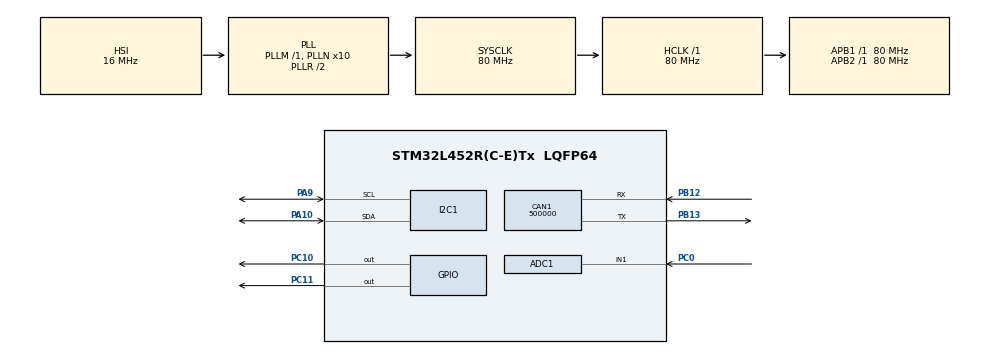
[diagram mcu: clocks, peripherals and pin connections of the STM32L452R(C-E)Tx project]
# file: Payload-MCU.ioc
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ADC1.Channel-0\#ChannelRegularConversion=ADC_CHANNEL_1
ADC1.NbrOfConversionFlag=1
ADC1.OffsetNumber-0\#ChannelRegularConversion=ADC_OFFSET_NONE
ADC1.Rank-0\#ChannelRegularConversion=1
ADC1.SamplingTime-0\#ChannelRegularConversion=ADC_SAMPLETIME_2CYCLES_5
ADC1.master=1
CAN1.BS1=CAN_BS1_5TQ
CAN1.BS2=CAN_BS2_4TQ
CAN1.CalculateBaudRate=500000
CAN1.CalculateTimeBit=2000
CAN1.CalculateTimeQuantum=200.0
FREERTOS.Tasks01=defaultTask,24,128,StartDefaultTask,Default,NULL,Dynamic,NULL,NULL
I2C1.Timing=0x10909CEC
Mcu.Family=STM32L4
Mcu.Name=STM32L452R(C-E)Tx
Mcu.Package=LQFP64
NVIC.CAN1_RX0_IRQn=true\:5\:0\:false\:false\:true\:true\:true\:true\:true
NVIC.PriorityGroup=NVIC_PRIORITYGROUP_4
NVIC.TIM2_IRQn=true\:5\:0\:false\:false\:true\:true\:true\:true\:true
PA10.Mode=I2C
PA10.Signal=I2C1_SDA
PA13\ (JTMS/SWDIO).Mode=Trace_Asynchronous_SW
PA13\ (JTMS/SWDIO).Signal=SYS_JTMS-SWDIO
PA14\ (JTCK/SWCLK).Mode=Trace_Asynchronous_SW
PA14\ (JTCK/SWCLK).Signal=SYS_JTCK-SWCLK
PA9.Mode=I2C
PA9.Signal=I2C1_SCL
PB12.Mode=CAN_Activate
PB12.Signal=CAN1_RX
PB13.Mode=CAN_Activate
PB13.Signal=CAN1_TX
PB3\ (JTDO/TRACESWO).Mode=Trace_Asynchronous_SW
PB3\ (JTDO/TRACESWO).Signal=SYS_JTDO-SWO
PC0.Signal=ADCx_IN1
PC10.Signal=GPIO_Output
PC11.Signal=GPIO_Output
PH3-BOOT0\ (BOOT0).Signal=EVENTOUT
ProjectManager.HeapSize=0x200
ProjectManager.StackSize=0x400
ProjectManager.TargetToolchain=STM32CubeIDE
RCC.ADCFreq_Value=64000000
RCC.AHBFreq_Value=80000000
RCC.APB1Freq_Value=80000000
RCC.APB1TimFreq_Value=80000000
RCC.APB2Freq_Value=80000000
RCC.APB2TimFreq_Value=80000000
RCC.CortexFreq_Value=80000000
RCC.HCLKFreq_Value=80000000
RCC.HSE_VALUE=8000000
RCC.HSI48_VALUE=48000000
RCC.HSI_VALUE=16000000
RCC.LSE_VALUE=32768
RCC.MSI_VALUE=4000000
RCC.PLLN=10
RCC.PLLSourceVirtual=RCC_PLLSOURCE_HSI
RCC.SYSCLKFreq_VALUE=80000000
RCC.SYSCLKSource=RCC_SYSCLKSOURCE_PLLCLK
RCC.USBFreq_Value=64000000
RCC.VCOOutputFreq_Value=160000000
SH.ADCx_IN1.0=ADC1_IN1,IN1-Single-Ended
TIM16.Period=5000 - 1
TIM16.Prescaler=80 - 1
VP_FREERTOS_VS_CMSIS_V2.Mode=CMSIS_V2
VP_TIM16_VS_ClockSourceINT.Mode=Enable_Timer
VP_TIM2_VS_ClockSourceINT.Mode=Internal
board=custom

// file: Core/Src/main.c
/* USER CODE BEGIN Header */
/**
  ******************************************************************************
  * @file           : main.c
  * @brief          : Main program body
  ******************************************************************************
  * @attention
  *
  * Copyright (c) 2023 STMicroelectronics.
  * All rights reserved.
  *
  * This software is licensed under terms that can be found in the LICENSE file
  * in the root directory of this software component.
  * If no LICENSE file comes with this software, it is provided AS-IS.
  *
  ******************************************************************************
  */
/* USER CODE END Header */
#include "main.h"
#include "cmsis_os.h"

/* USER CODE BEGIN Includes */
#include <stdio.h>
#include <stdlib.h>

#include <tuk/tuk.h>

#include "core.h"
#include "command_handling.h"
/* USER CODE END Includes */

ADC_HandleTypeDef hadc1;

CAN_HandleTypeDef hcan1;

I2C_HandleTypeDef hi2c1;

TIM_HandleTypeDef htim2;
TIM_HandleTypeDef htim16;

/* Definitions for defaultTask */
osThreadId_t defaultTaskHandle;
const osThreadAttr_t defaultTask_attributes = {
  .name = "defaultTask",
  .stack_size = 128 * 4,
  .priority = (osPriority_t) osPriorityNormal,
};

void SystemClock_Config(void);
static void MX_GPIO_Init(void);
static void MX_I2C1_Init(void);
static void MX_CAN1_Init(void);
static void MX_ADC1_Init(void);
static void MX_TIM2_Init(void);
static void MX_TIM16_Init(void);
void StartDefaultTask(void *argument);

/* USER CODE BEGIN 0 */
#define PRINT_SUBJECT "Core"

/* Function used by printf() to direct output to SWO, prototype in syscalls.c */
__attribute__((weak)) int _write(int file, char *ptr, int len)
{
  (void)file;
  int DataIdx;

  for (DataIdx = 0; DataIdx < len; DataIdx++)
  {
    ITM_SendChar(*ptr++);
  }
  return len;
}

/* USER CODE END 0 */

int main(void)
{

  /* MCU Configuration--------------------------------------------------------*/

  /* Reset of all peripherals, Initializes the Flash interface and the Systick. */
  HAL_Init();

  /* Configure the system clock */
  SystemClock_Config();

  /* Initialize all configured peripherals */
  MX_GPIO_Init();
  MX_I2C1_Init();
  MX_CAN1_Init();
  MX_ADC1_Init();
  MX_TIM2_Init();
  MX_TIM16_Init();
  /* USER CODE BEGIN 2 */
  Core_Init();
  /* USER CODE END 2 */

  /* Init scheduler */
  osKernelInitialize();

  /* Create the thread(s) */
  /* creation of defaultTask */
  defaultTaskHandle = osThreadNew(StartDefaultTask, NULL, &defaultTask_attributes);

  /* USER CODE BEGIN RTOS_THREADS */
  /* add threads, ... */
  const CANWrapper_InitTypeDef cw_init = {
  		.node_id = NODE_PAYLOAD,    // your subsystem's unique ID in the CAN network.
  		.message_callback = On_CAN_Message_Ready, // called when a message is received and ready to be handled.
  		.error_callback = On_CAN_Error      // called when a communication error occurs.
  };
  CANWrapper_CAN_Start(&hcan1);
  CANWrapper_Init(&cw_init);
  /* USER CODE END RTOS_THREADS */

  /* Start scheduler */
  osKernelStart();

  /* We should never get here as control is now taken by the scheduler */
  /* Infinite loop */
  while (1)
  {

  }
}

void SystemClock_Config(void)
{
  RCC_OscInitTypeDef RCC_OscInitStruct = {0};
  RCC_ClkInitTypeDef RCC_ClkInitStruct = {0};

  /** Configure the main internal regulator output voltage
  */
  if (HAL_PWREx_ControlVoltageScaling(PWR_REGULATOR_VOLTAGE_SCALE1) != HAL_OK)
  {
    Error_Handler();
  }

  /** Initializes the RCC Oscillators according to the specified parameters
  * in the RCC_OscInitTypeDef structure.
  */
  RCC_OscInitStruct.OscillatorType = RCC_OSCILLATORTYPE_HSI;
  RCC_OscInitStruct.HSIState = RCC_HSI_ON;
  RCC_OscInitStruct.HSICalibrationValue = RCC_HSICALIBRATION_DEFAULT;
  RCC_OscInitStruct.PLL.PLLState = RCC_PLL_ON;
  RCC_OscInitStruct.PLL.PLLSource = RCC_PLLSOURCE_HSI;
  RCC_OscInitStruct.PLL.PLLM = 1;
  RCC_OscInitStruct.PLL.PLLN = 10;
  RCC_OscInitStruct.PLL.PLLP = RCC_PLLP_DIV7;
  RCC_OscInitStruct.PLL.PLLQ = RCC_PLLQ_DIV2;
  RCC_OscInitStruct.PLL.PLLR = RCC_PLLR_DIV2;
  if (HAL_RCC_OscConfig(&RCC_OscInitStruct) != HAL_OK)
  {
    Error_Handler();
  }

  /** Initializes the CPU, AHB and APB buses clocks
  */
  RCC_ClkInitStruct.ClockType = RCC_CLOCKTYPE_HCLK|RCC_CLOCKTYPE_SYSCLK
                              |RCC_CLOCKTYPE_PCLK1|RCC_CLOCKTYPE_PCLK2;
  RCC_ClkInitStruct.SYSCLKSource = RCC_SYSCLKSOURCE_PLLCLK;
  RCC_ClkInitStruct.AHBCLKDivider = RCC_SYSCLK_DIV1;
  RCC_ClkInitStruct.APB1CLKDivider = RCC_HCLK_DIV1;
  RCC_ClkInitStruct.APB2CLKDivider = RCC_HCLK_DIV1;

  if (HAL_RCC_ClockConfig(&RCC_ClkInitStruct, FLASH_LATENCY_4) != HAL_OK)
  {
    Error_Handler();
  }
}

static void MX_ADC1_Init(void)
{

  ADC_ChannelConfTypeDef sConfig = {0};

  /** Common config
  */
  hadc1.Instance = ADC1;
  hadc1.Init.ClockPrescaler = ADC_CLOCK_ASYNC_DIV1;
  hadc1.Init.Resolution = ADC_RESOLUTION_12B;
  hadc1.Init.DataAlign = ADC_DATAALIGN_RIGHT;
  hadc1.Init.ScanConvMode = ADC_SCAN_DISABLE;
  hadc1.Init.EOCSelection = ADC_EOC_SINGLE_CONV;
  hadc1.Init.LowPowerAutoWait = DISABLE;
  hadc1.Init.ContinuousConvMode = DISABLE;
  hadc1.Init.NbrOfConversion = 1;
  hadc1.Init.DiscontinuousConvMode = DISABLE;
  hadc1.Init.ExternalTrigConv = ADC_SOFTWARE_START;
  hadc1.Init.ExternalTrigConvEdge = ADC_EXTERNALTRIGCONVEDGE_NONE;
  hadc1.Init.DMAContinuousRequests = DISABLE;
  hadc1.Init.Overrun = ADC_OVR_DATA_PRESERVED;
  hadc1.Init.OversamplingMode = DISABLE;
  if (HAL_ADC_Init(&hadc1) != HAL_OK)
  {
    Error_Handler();
  }

  /** Configure Regular Channel
  */
  sConfig.Channel = ADC_CHANNEL_1;
  sConfig.Rank = ADC_REGULAR_RANK_1;
  sConfig.SamplingTime = ADC_SAMPLETIME_2CYCLES_5;
  sConfig.SingleDiff = ADC_SINGLE_ENDED;
  sConfig.OffsetNumber = ADC_OFFSET_NONE;
  sConfig.Offset = 0;
  if (HAL_ADC_ConfigChannel(&hadc1, &sConfig) != HAL_OK)
  {
    Error_Handler();
  }

}

static void MX_CAN1_Init(void)
{

  hcan1.Instance = CAN1;
  hcan1.Init.Prescaler = 16;
  hcan1.Init.Mode = CAN_MODE_NORMAL;
  hcan1.Init.SyncJumpWidth = CAN_SJW_1TQ;
  hcan1.Init.TimeSeg1 = CAN_BS1_5TQ;
  hcan1.Init.TimeSeg2 = CAN_BS2_4TQ;
  hcan1.Init.TimeTriggeredMode = DISABLE;
  hcan1.Init.AutoBusOff = DISABLE;
  hcan1.Init.AutoWakeUp = DISABLE;
  hcan1.Init.AutoRetransmission = DISABLE;
  hcan1.Init.ReceiveFifoLocked = DISABLE;
  hcan1.Init.TransmitFifoPriority = DISABLE;
  if (HAL_CAN_Init(&hcan1) != HAL_OK)
  {
    Error_Handler();
  }

}

static void MX_I2C1_Init(void)
{

  hi2c1.Instance = I2C1;
  hi2c1.Init.Timing = 0x10909CEC;
  hi2c1.Init.OwnAddress1 = 0;
  hi2c1.Init.AddressingMode = I2C_ADDRESSINGMODE_7BIT;
  hi2c1.Init.DualAddressMode = I2C_DUALADDRESS_DISABLE;
  hi2c1.Init.OwnAddress2 = 0;
  hi2c1.Init.OwnAddress2Masks = I2C_OA2_NOMASK;
  hi2c1.Init.GeneralCallMode = I2C_GENERALCALL_DISABLE;
  hi2c1.Init.NoStretchMode = I2C_NOSTRETCH_DISABLE;
  if (HAL_I2C_Init(&hi2c1) != HAL_OK)
  {
    Error_Handler();
  }

  /** Configure Analogue filter
  */
  if (HAL_I2CEx_ConfigAnalogFilter(&hi2c1, I2C_ANALOGFILTER_ENABLE) != HAL_OK)
  {
    Error_Handler();
  }

  /** Configure Digital filter
  */
  if (HAL_I2CEx_ConfigDigitalFilter(&hi2c1, 0) != HAL_OK)
  {
    Error_Handler();
  }

}

static void MX_TIM2_Init(void)
{

  TIM_ClockConfigTypeDef sClockSourceConfig = {0};
  TIM_MasterConfigTypeDef sMasterConfig = {0};

  htim2.Instance = TIM2;
  htim2.Init.Prescaler = 0;
  htim2.Init.CounterMode = TIM_COUNTERMODE_UP;
  htim2.Init.Period = 4294967295;
  htim2.Init.ClockDivision = TIM_CLOCKDIVISION_DIV1;
  htim2.Init.AutoReloadPreload = TIM_AUTORELOAD_PRELOAD_DISABLE;
  if (HAL_TIM_Base_Init(&htim2) != HAL_OK)
  {
    Error_Handler();
  }
  sClockSourceConfig.ClockSource = TIM_CLOCKSOURCE_INTERNAL;
  if (HAL_TIM_ConfigClockSource(&htim2, &sClockSourceConfig) != HAL_OK)
  {
    Error_Handler();
  }
  sMasterConfig.MasterOutputTrigger = TIM_TRGO_RESET;
  sMasterConfig.MasterSlaveMode = TIM_MASTERSLAVEMODE_DISABLE;
  if (HAL_TIMEx_MasterConfigSynchronization(&htim2, &sMasterConfig) != HAL_OK)
  {
    Error_Handler();
  }

}

static void MX_TIM16_Init(void)
{

  htim16.Instance = TIM16;
  htim16.Init.Prescaler = 80 - 1;
  htim16.Init.CounterMode = TIM_COUNTERMODE_UP;
  htim16.Init.Period = 5000 - 1;
  htim16.Init.ClockDivision = TIM_CLOCKDIVISION_DIV1;
  htim16.Init.RepetitionCounter = 0;
  htim16.Init.AutoReloadPreload = TIM_AUTORELOAD_PRELOAD_DISABLE;
  if (HAL_TIM_Base_Init(&htim16) != HAL_OK)
  {
    Error_Handler();
  }

}

static void MX_GPIO_Init(void)
{
  GPIO_InitTypeDef GPIO_InitStruct = {0};

  /* GPIO Ports Clock Enable */
  __HAL_RCC_GPIOC_CLK_ENABLE();
  __HAL_RCC_GPIOB_CLK_ENABLE();
  __HAL_RCC_GPIOA_CLK_ENABLE();
  __HAL_RCC_GPIOH_CLK_ENABLE();

  /*Configure GPIO pin Output Level */
  HAL_GPIO_WritePin(GPIOC, GPIO_PIN_10|GPIO_PIN_11, GPIO_PIN_RESET);

  /*Configure GPIO pins : PC10 PC11 */
  GPIO_InitStruct.Pin = GPIO_PIN_10|GPIO_PIN_11;
  GPIO_InitStruct.Mode = GPIO_MODE_OUTPUT_PP;
  GPIO_InitStruct.Pull = GPIO_NOPULL;
  GPIO_InitStruct.Speed = GPIO_SPEED_FREQ_LOW;
  HAL_GPIO_Init(GPIOC, &GPIO_InitStruct);

  /*Configure GPIO pin : PH3 */
  GPIO_InitStruct.Pin = GPIO_PIN_3;
  GPIO_InitStruct.Mode = GPIO_MODE_AF_PP;
  GPIO_InitStruct.Pull = GPIO_NOPULL;
  GPIO_InitStruct.Speed = GPIO_SPEED_FREQ_LOW;
  GPIO_InitStruct.Alternate = GPIO_AF15_EVENTOUT;
  HAL_GPIO_Init(GPIOH, &GPIO_InitStruct);

}

/* USER CODE BEGIN 4 */
#undef PRINT_SUBJECT
#define PRINT_SUBJECT "HAL"
/* USER CODE END 4 */

void StartDefaultTask(void *argument)
{
  for(;;)
  {
    osDelay(1);
  }
}

void Error_Handler(void)
{
  /* USER CODE BEGIN Error_Handler_Debug */
  /* User can add his own implementation to report the HAL error return state */
  __disable_irq();

  PRINT_ERROR("error occurred. Halting program.\r\n");

  while (1)
  {}
  /* USER CODE END Error_Handler_Debug */
}

#ifdef  USE_FULL_ASSERT
/**
  * @brief  Reports the name of the source file and the source line number
  *         where the assert_param error has occurred.
  * @param  file: pointer to the source file name
  * @param  line: assert_param error line source number
  * @retval None
  */
void assert_failed(uint8_t *file, uint32_t line)
{
  /* USER CODE BEGIN 6 */
  /* User can add his own implementation to report the file name and line number,
     ex: printf("Wrong parameters value: file %s on line %d\r\n", file, line) */
  PRINT_ERROR("invalid argument for HAL function. (in '%s':%d)\r\nlogged on line:", file, line);

  assertion_failed(); // see assert.c
  /* USER CODE END 6 */
}
#endif /* USE_FULL_ASSERT */
